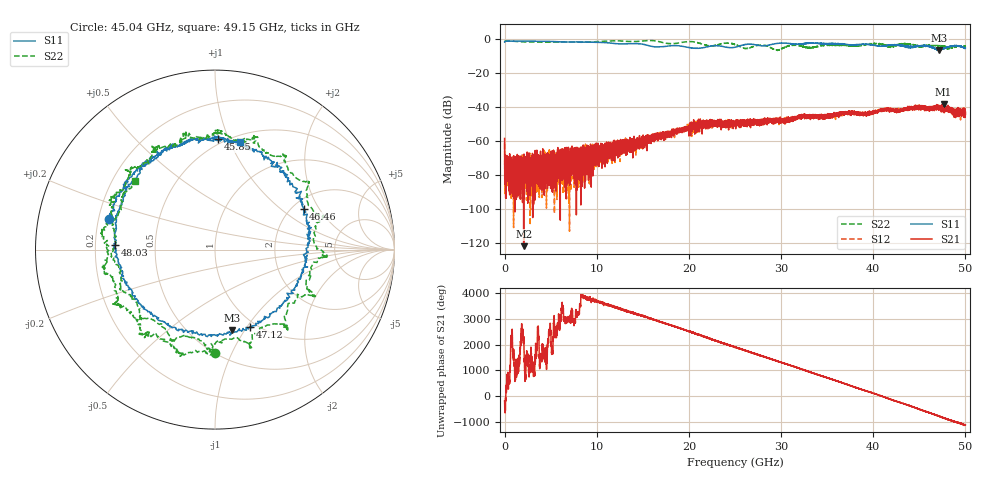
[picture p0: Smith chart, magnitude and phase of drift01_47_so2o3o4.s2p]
!Created with skrf (http://scikit-rf.org).
# Hz S RI R 50.0
!freq ReS11 ImS11 ReS21 ImS21 ReS12 ImS12 ReS22 ImS22
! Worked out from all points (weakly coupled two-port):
!   10001 points, 300 kHz to 50 GHz, reference 50 ohm
!   highest |S21| = -38.50 dB at 47.63 GHz (marker M1); lowest = -121.9 dB at 2.07 GHz (marker M2)
!   lowest |S11| = -6.8 dB at 47.19 GHz (marker M3), VSWR 2.70, Z = 38.7 - j44 ohm
!   |S11| at or under -10 dB: nowhere
!   |S22| runs from -6.9 to -1.1 dB; largest |S21 - S12| = 0.004
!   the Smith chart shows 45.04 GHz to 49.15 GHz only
!   S11 on the Smith chart (normalised r, x): 45.04 GHz: 0.24, +0.14; 45.85 GHz: 0.46, +0.91; 46.46 GHz: 2.28, +1.48; 47.12 GHz: 0.93, -1.03; 48.03 GHz: 0.29, +0.02; 49.15 GHz: 0.56, +1.09
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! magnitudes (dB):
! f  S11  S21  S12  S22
! 300 kHz  -2.0  -58.6  -61.5  -1.3
! 260.3 MHz  -1.4  -71.0  -71.4  -1.4
! 2.07 GHz  -1.4  -121.9  -71.5  -1.9
! 6.56 GHz  -1.9  -72.1  -69.8  -1.9
! 8.335 GHz  -1.9  -69.9  -68.5  -2.1
! 16.67 GHz  -4.9  -56.3  -55.6  -1.6
! 21.4 GHz  -5.4  -50.3  -50.4  -3.1
! 25 GHz  -5.0  -49.4  -51.0  -3.4
! 28.12 GHz  -4.3  -47.7  -48.8  -3.9
! 29.51 GHz  -2.8  -48.2  -47.6  -6.7
! 31.28 GHz  -3.1  -47.3  -46.6  -4.0
! 33.34 GHz  -2.6  -45.1  -45.7  -5.5
! 41.67 GHz  -3.9  -41.3  -41.5  -4.6
! 45.04 GHz  -4.2  -39.7  -40.1  -4.8
! 45.85 GHz  -4.2  -41.5  -40.5  -4.4
! 46.46 GHz  -5.3  -40.9  -41.3  -3.7
! 47.12 GHz  -6.5  -40.2  -39.9  -3.8
! 47.19 GHz  -6.8  -41.5  -40.5  -4.6
! 47.63 GHz  -5.9  -38.5  -39.9  -4.2
! 48.03 GHz  -5.1  -40.0  -41.9  -5.9
! 49.15 GHz  -4.2  -43.6  -43.0  -4.6
! 50 GHz  -5.6  -44.1  -43.7  -4.3
